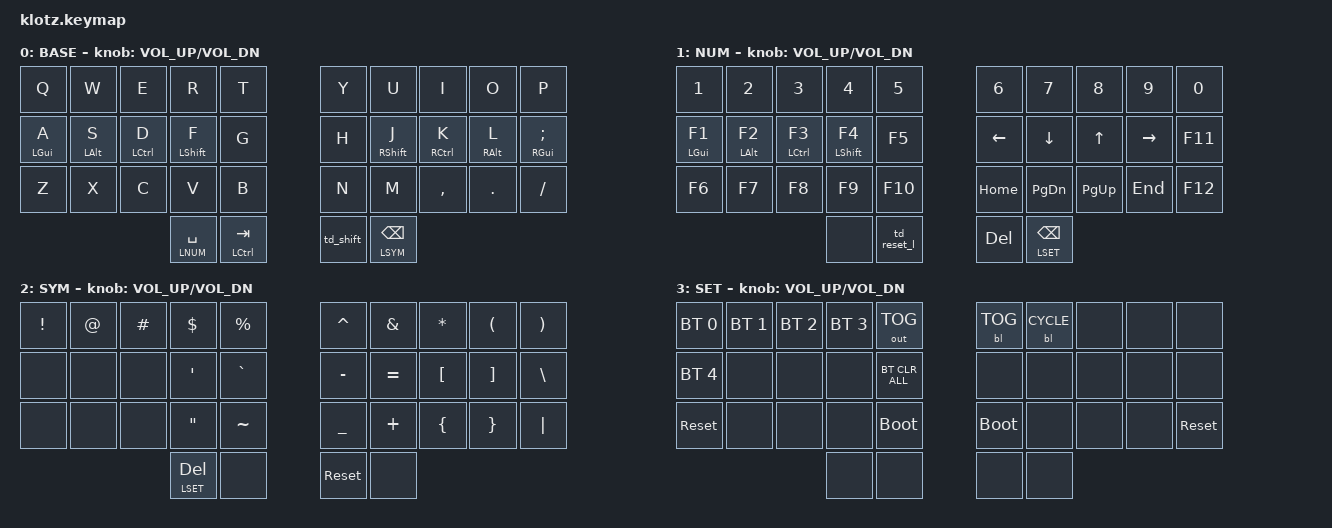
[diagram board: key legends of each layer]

//                                      █         ██        ▄▀▀▀▀▀▀▀▀▀▀█▀▀▀▀▀▀▀▀█▀▀▀▀▀▀▀▀▀▀█
//                                      █        █ █      ▄▀            ▀▄      █         █
//                                      █       █  █    ▄▀                ▀▄    █        █
//                                      █      █   █   █                    █   █       █
//                                      █     █    █   █                    █   █      █
//                                      █    █     █   █                    █   █  ▀▀▀█▀▀▀▀
//                                      █   █ █    █   █                    █   █    █
//                                      █  █   █   █   █                    █   █   █
//                                      █ █     █  █    ▀▄                ▄▀    █  █
//                                      ██       █ █      ▀▄            ▄▀      █ █
//                                      █         ██▄▄▄▄▄▄▄▄█▄▄▄▄▄▄▄▄▄▄▀        ██▄▄▄▄▄▄▄▄▄▄
//
// ▄▄▄▄▄▄▄▄▄▄▄▄▄▄▄▄▄▄▄▄▄▄▄▄▄▄▄▄▄▄▄▄▄▄▄▄▄▄▄▄▄▄▄▄▄▄▄▄▄▄▄▄▄▄▄▄▄▄▄▄▄▄▄▄▄▄▄▄▄▄▄▄▄▄▄▄▄▄▄▄▄▄▄▄▄▄▄▄▄▄▄▄▄▄▄▄▄▄▄▄▄▄▄▄▄▄▄▄▄▄▄▄▄▄▄▄▄▄▄▄▄▄▄▄▄
       

#include <behaviors.dtsi>
#include <dt-bindings/zmk/keys.h>
#include <dt-bindings/zmk/bt.h>
#include <dt-bindings/zmk/outputs.h>
#include <dt-bindings/zmk/backlight.h>

#define LNUM 1
#define LSYM 2
#define LSET 3

&mt {
    tapping-term-ms = <220>;
    quick-tap-ms = <200>;
    require-prior-idle-ms = <125>;
    flavor = "tap-preferred";
};

&lt {
    tapping-term-ms = <220>;
    quick-tap-ms = <200>;
    require-prior-idle-ms = <125>;
    flavor = "tap-preferred";
};

 //   0  1  2  3  4    5  6  7  8  9
 //  10 11 12 13 14   15 16 17 18 19
 //  20 21 22 23 24   25 26 27 28 29
 //           30 31   32 33

/ {
    
     combos {
        compatible = "zmk,combos";

        combo_esc {
            bindings = <&kp ESC>;
            key-positions = <1 2>;
            timeout-ms = <70>;
        };

        combo_lbrc {
            bindings = <&kp LBRC>;
            key-positions = <2 3>;
            timeout-ms = <70>;
        };
        combo_rbrc {
            bindings = <&kp RBRC>;
            key-positions = <6 7>;
            timeout-ms = <70>;
        };

        combo_lbkt {
            bindings = <&kp LBKT>;
            key-positions = <21 22>;
            timeout-ms = <70>;
        };
        combo_rbkt {
            bindings = <&kp RBKT>;
            key-positions = <27 28>;
            timeout-ms = <70>;
        };

        combo_lpar {
            bindings = <&kp LPAR>;
            key-positions = <22 23>;
            timeout-ms = <70>;
        };
        combo_rpar {
            bindings = <&kp RPAR>;
            key-positions = <26 27>;
            timeout-ms = <70>;
        };

        combo_minus {
            bindings = <&kp MINUS>;
            key-positions = <2 7>;
            timeout-ms = <70>;
        };
        combo_under {
            bindings = <&kp UNDER>;
            key-positions = <1 8>;
            timeout-ms = <70>;
        };

        combo_sqt {
            bindings = <&kp SQT>;
            key-positions = <23 26>;
            timeout-ms = <70>;
        };
        combo_dqt {
            bindings = <&kp DQT>;
            key-positions = <22 27>;
            timeout-ms = <70>;
        };
        combo_bspc {
            bindings = <&kp BSPC>;
            key-positions = <7 8>;
            timeout-ms = <70>;
        };

    };

     td_shift: tap_dance_shift {
            compatible = "zmk,behavior-tap-dance";
            #binding-cells = <0>;
            tapping-term-ms = <200>;
            bindings = <&mt RSHIFT RET>, <&caps_word>;
    };

    td_reset_l: tap_dance_reset_left {
            compatible = "zmk,behavior-tap-dance";
            #binding-cells = <0>;
            tapping-term-ms = <200>;
            bindings = <&sys_reset>, <&bootloader>;
    };

    macros {
    };

        keymap {
            compatible = "zmk,keymap";
            base_layer {
                display-name = "BASE";
                bindings = <

    &kp Q       &kp W       &kp E       &kp R       &kp T        &kp Y       &kp U       &kp I       &kp O       &kp P
    &mt LGUI A  &mt LALT S  &mt LCTRL D &mt LSHFT F &kp G        &kp H       &mt RSHFT J &mt RCTRL K &mt RALT L  &mt RGUI SEMI
    &kp Z       &kp X       &kp C       &kp V       &kp B        &kp N       &kp M       &kp COMMA   &kp DOT     &kp FSLH
                          &lt LNUM SPACE    &mt LCTRL TAB        &td_shift   &lt LSYM BSPC    
                >;
                sensor-bindings = <&inc_dec_kp C_VOL_UP C_VOL_DN>;
            };

            num_layer {
                display-name = "NUM";
                bindings = <

    &kp N1       &kp N2       &kp N3        &kp N4         &kp N5         &kp N6    &kp N7     &kp N8     &kp N9     &kp N0
    &mt LGUI F1  &mt LALT F2  &mt LCTRL F3  &mt LSHIFT F4  &kp F5         &kp LEFT  &kp DOWN   &kp UP     &kp RIGHT  &kp F11
    &kp F6       &kp F7       &kp F8        &kp F9         &kp F10        &kp HOME  &kp PG_DN  &kp PG_UP  &kp END    &kp F12
                                            &none          &td_reset_l    &kp DEL   &lt LSET BSPC
                >;
                sensor-bindings = <&inc_dec_kp C_VOL_UP C_VOL_DN>;
            };

            sym_layer {
                display-name = "SYM";
                bindings = <

    &kp EXCL  &kp AT  &kp HASH  &kp DLLR  &kp PRCNT        &kp CARET  &kp AMPS   &kp STAR  &kp LPAR  &kp RPAR
    &none     &none   &none     &kp SQT   &kp GRAVE        &kp MINUS  &kp EQUAL  &kp LBKT  &kp RBKT  &kp BSLH
    &none     &none   &none     &kp DQT   &kp TILDE        &kp UNDER  &kp PLUS   &kp LBRC  &kp RBRC  &kp PIPE
                                &lt LSET DEL  &none        &sys_reset  &none
                >;
                sensor-bindings = <&inc_dec_kp C_VOL_UP C_VOL_DN>;
            };

            setting_layer {
                display-name = "SET";
                bindings = <

&bt BT_SEL 0  &bt BT_SEL 1  &bt BT_SEL 2  &bt BT_SEL 3  &out OUT_TOG        &bl BL_TOG   &bl BL_CYCLE  &none  &none  &none
&bt BT_SEL 4  &none         &none         &none         &bt BT_CLR_ALL      &none        &none         &none  &none  &none
&sys_reset    &none         &none         &none         &bootloader         &bootloader  &none         &none  &none  &sys_reset
                                          &none         &none               &none        &none
                >;           
                sensor-bindings = <&inc_dec_kp C_VOL_UP C_VOL_DN>;
            };

        };
};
